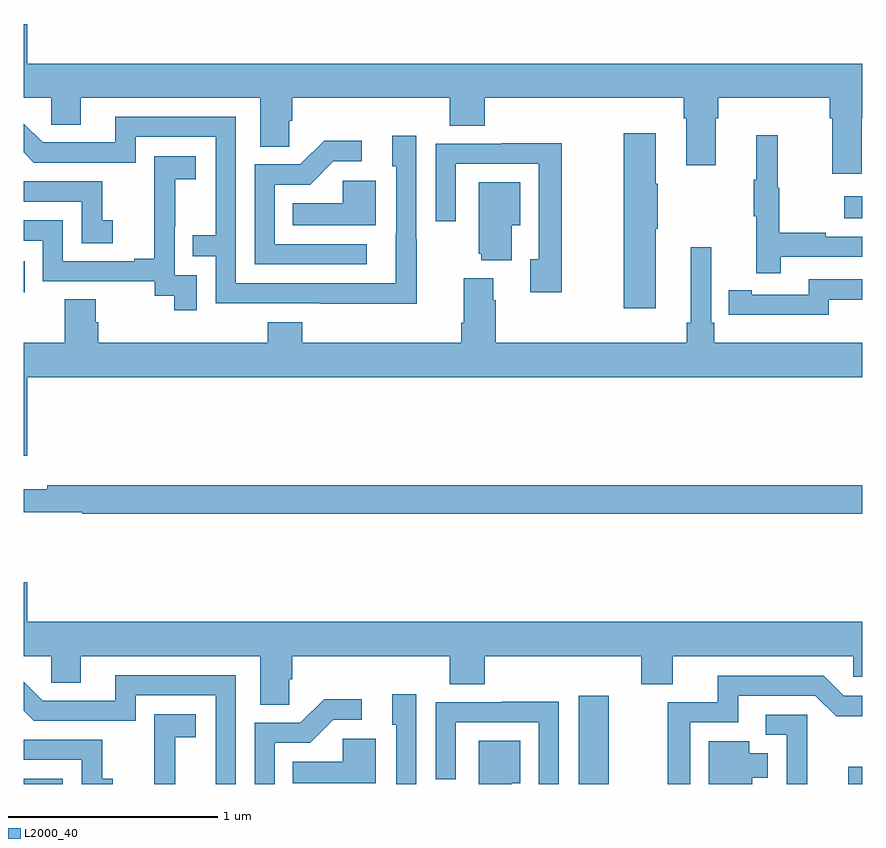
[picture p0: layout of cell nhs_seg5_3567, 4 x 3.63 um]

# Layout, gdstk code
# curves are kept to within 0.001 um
import gdstk
lib = gdstk.Library(unit=1e-6, precision=1e-09)
def R(c, l, rs):  # rectangles x0, y0, x1, y1
    for r in rs: c.add(gdstk.rectangle(r[:2], r[2:], *l))
def P(c, l, *ps):  # polygons
    for p in ps: c.add(gdstk.Polygon(p, *l))
L2000_40 = (2000, 40)

nhs_seg5_3567 = lib.new_cell('nhs_seg5_3567')
R(nhs_seg5_3567, L2000_40, [(321,874.799,321.186,874.824), (323.648,874.799,323.79,875.221), (324.934,874.799,325,874.881), (321,877.146,321.005,877.293), (324.915,877.499,325,877.603)])
P(nhs_seg5_3567, L2000_40, [(324.997,877.976),(325,877.976),(325,878.236),(321.016,878.236),(321.016,878.425),(321,878.425),(321,878.072),(321.132,878.072),(321.132,877.945),(321.271,877.945),(321.271,878.072),(322.127,878.072),(322.127,877.84),(322.266,877.84),(322.266,877.963),(322.28,877.963),(322.28,878.072),(323.033,878.072),(323.033,877.939),(323.198,877.939),(323.198,878.072),(324.149,878.072),(324.149,877.976),(324.161,877.976),(324.161,877.752),(324.301,877.752),(324.301,877.976),(324.314,877.976),(324.314,878.072),(324.845,878.072),(324.845,877.976),(324.857,877.976),(324.857,877.71),(324.997,877.71)],
  [(322.875,877.397),(322.872,877.397),(322.872,877.891),(322.757,877.891),(322.757,877.746),(322.776,877.746),(322.775,877.188),(322.011,877.188),(322.011,877.983),(321.437,877.983),(321.437,877.86),(321.09,877.86),(321,877.95),(321,877.812),(321.048,877.764),(321.534,877.764),(321.534,877.887),(321.915,877.887),(321.915,877.418),(321.805,877.418),(321.805,877.317),(321.915,877.317),(321.915,877.092),(322.875,877.091)],
  [(324.016,877.447),(324.024,877.447),(324.024,877.664),(324.016,877.664),(324.016,877.903),(323.863,877.903),(323.863,877.068),(324.016,877.068)],
  [(324.611,877.314),(325,877.314),(325,877.41),(324.827,877.41),(324.827,877.43),(324.604,877.43),(324.604,877.644),(324.596,877.644),(324.596,877.894),(324.494,877.894),(324.494,877.681),(324.483,877.681),(324.483,877.507),(324.494,877.507),(324.494,877.236),(324.611,877.236)],
  [(322.636,877.374),(322.197,877.374),(322.197,877.659),(322.366,877.659),(322.477,877.77),(322.612,877.77),(322.612,877.868),(322.433,877.868),(322.32,877.755),(322.101,877.755),(322.101,877.278),(322.636,877.278)],
  [(323.566,877.856),(323.281,877.856),(323.281,877.854),(322.965,877.854),(322.965,877.485),(323.061,877.485),(323.061,877.758),(323.457,877.758),(323.457,877.302),(323.417,877.302),(323.417,877.146),(323.566,877.146)],
  [(321.825,877.227),(321.72,877.227),(321.72,877.457),(321.722,877.457),(321.722,877.685),(321.82,877.685),(321.82,877.795),(321.622,877.795),(321.622,877.589),(321.623,877.589),(321.623,877.306),(321.527,877.306),(321.527,877.293),(321.186,877.293),(321.186,877.488),(321,877.488),(321,877.392),(321.09,877.392),(321.09,877.197),(321.624,877.197),(321.624,877.129),(321.717,877.129),(321.717,877.059),(321.825,877.059)],
  [(322.678,877.678),(322.521,877.678),(322.521,877.57),(322.282,877.57),(322.282,877.466),(322.678,877.466)],
  [(321.424,877.489),(321.375,877.489),(321.375,877.674),(321,877.674),(321,877.578),(321.276,877.578),(321.276,877.38),(321.424,877.38)],
  [(323.329,877.466),(323.368,877.466),(323.368,877.669),(323.171,877.669),(323.171,877.329),(323.183,877.329),(323.183,877.298),(323.329,877.298)],
  [(321.016,876.74),(325,876.74),(325,876.904),(324.293,876.904),(324.293,877),(324.279,877),(324.279,877.36),(324.182,877.36),(324.182,877),(324.163,877),(324.163,876.904),(323.252,876.904),(323.252,877.106),(323.239,877.106),(323.239,877.213),(323.099,877.213),(323.099,877),(323.087,877),(323.087,876.904),(322.328,876.904),(322.328,877.003),(322.163,877.003),(322.163,876.904),(321.356,876.904),(321.356,877.002),(321.343,877.002),(321.343,877.112),(321.196,877.112),(321.196,876.904),(321,876.904),(321,876.366),(321.016,876.366)],
  [(324.84,877.11),(325,877.11),(325,877.206),(324.744,877.206),(324.744,877.134),(324.472,877.134),(324.472,877.154),(324.364,877.154),(324.364,877.038),(324.472,877.038),(324.472,877.037),(324.84,877.037)],
  [(325,876.224),(321.112,876.224),(321.112,876.205),(321,876.205),(321,876.096),(321.28,876.096),(321.28,876.088),(325,876.088)],
  [(322.266,875.299),(322.28,875.299),(322.28,875.408),(323.033,875.408),(323.033,875.275),(323.198,875.275),(323.198,875.408),(323.945,875.408),(323.945,875.275),(324.097,875.275),(324.097,875.408),(324.957,875.408),(324.957,875.31),(325,875.31),(325,875.572),(321.016,875.572),(321.016,875.761),(321,875.761),(321,875.408),(321.132,875.408),(321.132,875.281),(321.271,875.281),(321.271,875.408),(322.127,875.408),(322.127,875.176),(322.266,875.176)],
  [(322.011,875.319),(321.437,875.319),(321.437,875.196),(321.09,875.196),(321,875.286),(321,875.148),(321.048,875.1),(321.534,875.1),(321.534,875.223),(321.915,875.223),(321.915,874.799),(322.011,874.799)],
  [(324.18,875.094),(324.409,875.094),(324.409,875.22),(324.777,875.22),(324.876,875.122),(325,875.122),(325,875.22),(324.912,875.22),(324.816,875.316),(324.311,875.316),(324.311,875.19),(324.072,875.19),(324.072,874.799),(324.18,874.799)],
  [(322.872,875.227),(322.757,875.227),(322.757,875.082),(322.776,875.082),(322.776,874.799),(322.872,874.799)],
  [(322.197,874.995),(322.366,874.995),(322.477,875.106),(322.612,875.106),(322.612,875.204),(322.433,875.204),(322.32,875.091),(322.101,875.091),(322.101,874.799),(322.197,874.799)],
  [(323.553,875.192),(323.281,875.192),(323.281,875.19),(322.965,875.19),(322.965,874.821),(323.061,874.821),(323.061,875.094),(323.457,875.094),(323.457,874.799),(323.553,874.799)],
  [(321.722,875.021),(321.82,875.021),(321.82,875.131),(321.622,875.131),(321.622,874.925),(321.623,874.925),(321.623,874.799),(321.722,874.799)],
  [(324.737,875.13),(324.54,875.13),(324.54,875.034),(324.639,875.034),(324.639,874.799),(324.737,874.799)],
  [(322.678,875.014),(322.521,875.014),(322.521,874.906),(322.282,874.906),(322.282,874.802),(322.678,874.802)],
  [(321.424,874.825),(321.375,874.825),(321.375,875.01),(321,875.01),(321,874.914),(321.276,874.914),(321.276,874.799),(321.424,874.799)],
  [(323.329,874.802),(323.368,874.802),(323.368,875.005),(323.171,875.005),(323.171,874.799),(323.329,874.799)],
  [(324.475,874.829),(324.55,874.829),(324.55,874.945),(324.46,874.945),(324.46,875.002),(324.269,875.002),(324.269,874.799),(324.475,874.799)])

lib.write_gds('nhs_seg5_3567.gds')
